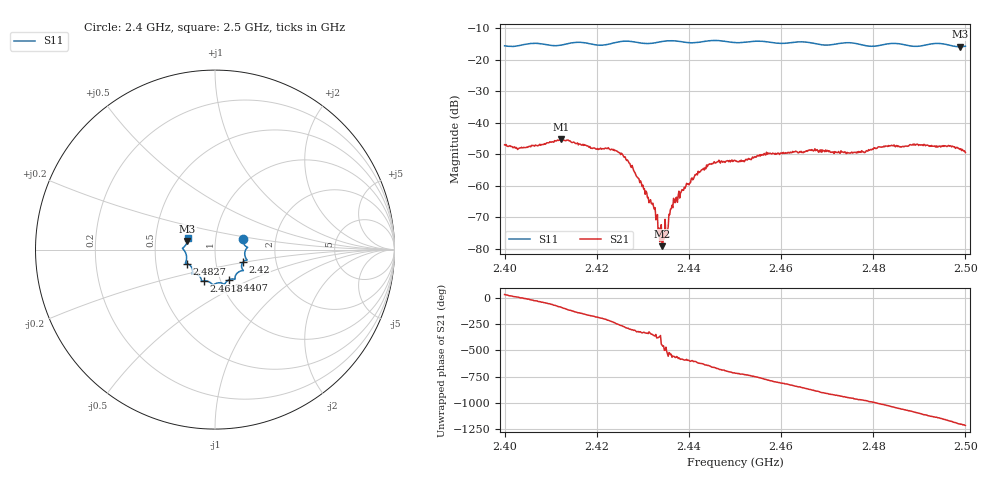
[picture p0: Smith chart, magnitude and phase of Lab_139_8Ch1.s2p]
# Hz S RI R 50
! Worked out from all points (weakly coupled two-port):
!   601 points, 2.4 GHz to 2.5 GHz, reference 50 ohm
!   highest |S21| = -45.30 dB at 2.4122 GHz (marker M1); lowest = -79.1 dB at 2.4342 GHz (marker M2)
!   lowest |S11| = -15.9 dB at 2.4988 GHz (marker M3), VSWR 1.38, Z = 36.6 + j3.41 ohm
!   |S11| at or under -10 dB: start of sweep to end of sweep
!   S12 and S22 are empty: the file has one direction only
!   S11 on the Smith chart (normalised r, x): 2.4 GHz: 1.35, +0.17; 2.42 GHz: 1.36, -0.19; 2.4407 GHz: 1.10, -0.38; 2.4618 GHz: 0.83, -0.30; 2.4827 GHz: 0.72, -0.12; 2.5 GHz: 0.73, +0.10
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2.4e9  0.1545 0.0613  0.00378 0.0024  0 0  0 0
2.403333e9  0.167 0.0224  0.004 0.000153  0 0  0 0
2.412167e9  0.1665 -0.0331  0.000319 -0.00543  0 0  0 0
2.416667e9  0.1788 -0.0584  -0.00372 -0.00239  0 0  0 0
2.42e9  0.1564 -0.0688  -0.00382 9.59e-05  0 0  0 0
2.423833e9  0.1515 -0.1073  -0.00207 0.00297  0 0  0 0
2.426667e9  0.1579 -0.1171  0.00085 0.00242  0 0  0 0
2.432167e9  0.1155 -0.1419  0.000526 7.95e-05  0 0  0 0
2.433333e9  0.1117 -0.1528  0.000157 -5.12e-05  0 0  0 0
2.434167e9  0.1112 -0.1594  2.64e-06 -0.00011  0 0  0 0
2.434833e9  0.1114 -0.1629  -0.000212 -0.000204  0 0  0 0
2.436833e9  0.1101 -0.1658  -0.000536 0.000172  0 0  0 0
2.440667e9  0.079 -0.1675  -0.000752 0.0011  0 0  0 0
2.444333e9  0.0553 -0.1916  0.000555 0.00211  0 0  0 0
2.45e9  0.0269 -0.1848  0.00252 0.000177  0 0  0 0
2.461833e9  -0.0614 -0.1747  -0.000926 -0.00317  0 0  0 0
2.466667e9  -0.0757 -0.1681  -0.00344 -0.00151  0 0  0 0
2.474667e9  -0.1268 -0.1362  -0.00219 0.00251  0 0  0 0
2.482667e9  -0.158 -0.0778  0.00212 0.00373  0 0  0 0
2.483333e9  -0.1618 -0.077  0.00264 0.00346  0 0  0 0
2.498833e9  -0.1535 0.0454  -0.00185 -0.0033  0 0  0 0
2.5e9  -0.1512 0.0632  -0.00235 -0.00241  0 0  0 0
